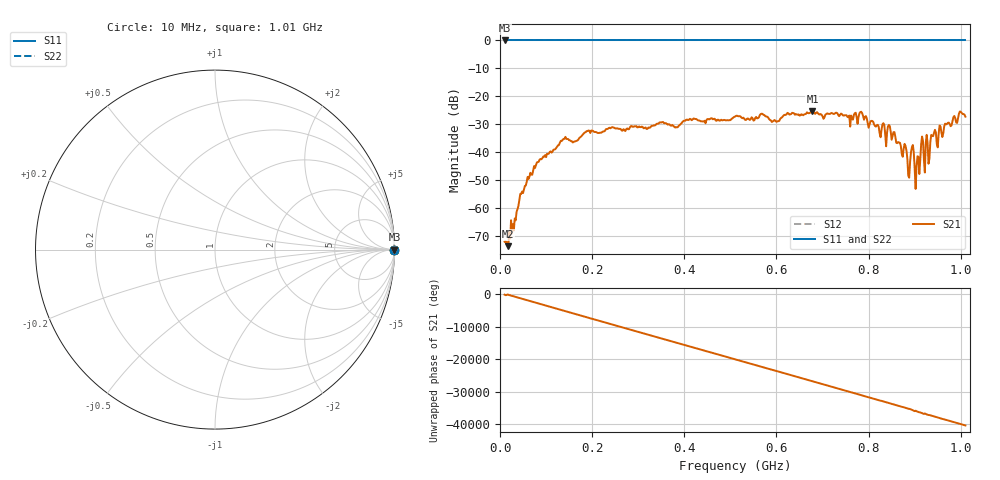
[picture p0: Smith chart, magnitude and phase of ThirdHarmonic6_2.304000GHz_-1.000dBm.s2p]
! 8/17/2025 3:09:09 AM
! C:\ANRITSUVNA\TEMP\TEMP.S2P
! CHANNEL.1
! TR.MEASUREMENT
! RAW.DATA
! RF.CORRECTION.OFF
! AVERAGING.OFF
! IF.BANDWIDTH: 5KHZ
! SWEEPTYPE:  FREQ.SWEEP(Linear)
! Reference Plane Port Info
! PORT:  PORT1  PORT2
! DISTANCE:  0  m  0  m
! TIME:  0  s  0  s
! PHASE.OFFSET:  0  deg.  0  deg.
! LOSS:  0  dB  0  dB
! REF.LOSS:  0  dB  0  dB
! REF.FREQ:  0  Hz  0  Hz
! Power Info
! POWER:  -20  dBm  -20  dBm
! EFF.POWER:  -20  dBm  -20  dBm
! SOURCE.ATTEN:  0  dB  0  dB
! TEST.ATTEN:  0  dB  0  dB
# GHZ S RI R 50.0
! FREQ.GHZ  S11RE  S11IM  S21RE  S21IM  S12RE  S12IM  S22RE  S22IM
!; PortSelection: Port_12
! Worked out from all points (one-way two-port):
!   501 points, 10 MHz to 1.01 GHz, reference 50 ohm
!   highest |S21| = -25.38 dB at 678 MHz (marker M1); lowest = -73.6 dB at 18 MHz (marker M2)
!   lowest |S11| = 0.0 dB at 10 MHz (marker M3)
!   |S11| at or under -10 dB: nowhere
!   |S22| runs from 0.0 to 0.0 dB; largest |S21 - S12| = 1.1
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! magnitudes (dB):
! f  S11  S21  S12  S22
! 10 MHz  0.0  -72.0  0.0  0.0
! 18 MHz  0.0  -73.6  0.0  0.0
! 46 MHz  0.0  -54.9  0.0  0.0
! 78 MHz  0.0  -44.7  0.0  0.0
! 138 MHz  0.0  -35.2  0.0  0.0
! 178 MHz  0.0  -34.0  0.0  0.0
! 344 MHz  0.0  -29.7  0.0  0.0
! 510 MHz  0.0  -27.2  0.0  0.0
! 602 MHz  0.0  -28.9  0.0  0.0
! 678 MHz  0.0  -25.4  0.0  0.0
! 762 MHz  0.0  -26.9  0.0  0.0
! 784 MHz  0.0  -25.5  0.0  0.0
! 824 MHz  0.0  -33.3  0.0  0.0
! 844 MHz  0.0  -30.2  0.0  0.0
! 880 MHz  0.0  -37.7  0.0  0.0
! 886 MHz  0.0  -48.3  0.0  0.0
! 894 MHz  0.0  -38.1  0.0  0.0
! 906 MHz  0.0  -41.4  0.0  0.0
! 916 MHz  0.0  -34.4  0.0  0.0
! 932 MHz  0.0  -42.2  0.0  0.0
! 940 MHz  0.0  -34.2  0.0  0.0
! 1.01 GHz  0.0  -27.3  0.0  0.0
